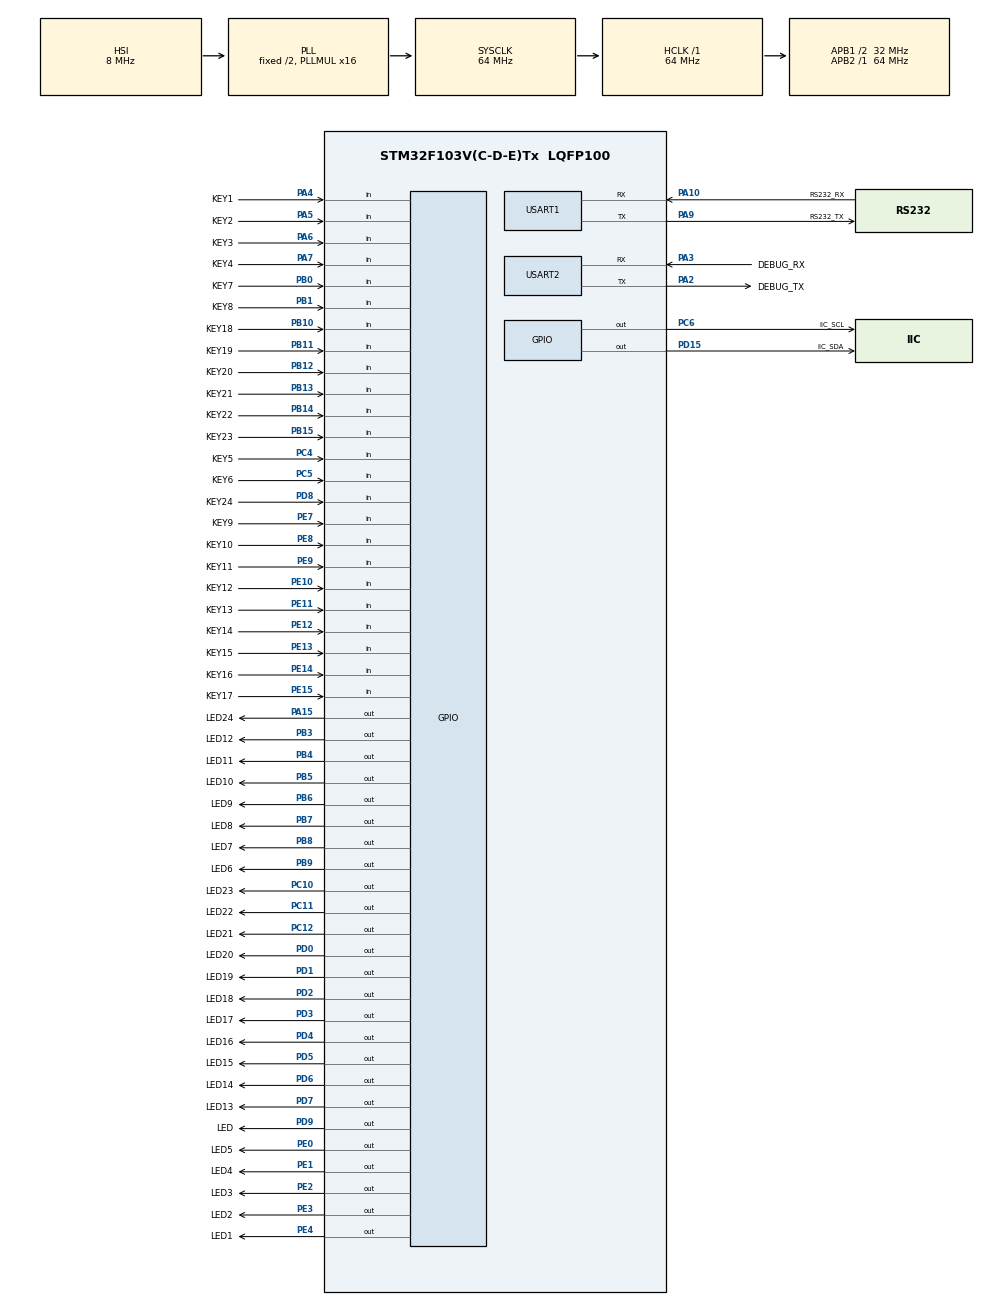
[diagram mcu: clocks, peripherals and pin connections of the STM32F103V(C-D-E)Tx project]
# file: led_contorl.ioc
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Mcu.Family=STM32F1
Mcu.Name=STM32F103V(C-D-E)Tx
Mcu.Package=LQFP100
NVIC.PriorityGroup=NVIC_PRIORITYGROUP_4
NVIC.TIM7_IRQn=true\:0\:0\:false\:false\:true\:true
NVIC.USART1_IRQn=true\:0\:0\:false\:false\:true\:true
NVIC.USART2_IRQn=true\:0\:0\:false\:false\:true\:true
OSC_IN.Mode=HSE-External-Clock-Source
OSC_IN.Signal=RCC_OSC_IN
OSC_OUT.Mode=HSE-External-Clock-Source
OSC_OUT.Signal=RCC_OSC_OUT
PA10.GPIO_Label=RS232_RX
PA10.Mode=Asynchronous
PA10.Signal=USART1_RX
PA13.Mode=Serial_Wire
PA13.Signal=SYS_JTMS-SWDIO
PA14.Mode=Serial_Wire
PA14.Signal=SYS_JTCK-SWCLK
PA15.GPIO_Label=LED24
PA15.Signal=GPIO_Output
PA2.GPIO_Label=DEBUG_TX
PA2.Mode=Asynchronous
PA2.Signal=USART2_TX
PA3.GPIO_Label=DEBUG_RX
PA3.Mode=Asynchronous
PA3.Signal=USART2_RX
PA4.GPIO_Label=KEY1
PA4.Signal=GPIO_Input
PA5.GPIO_Label=KEY2
PA5.Signal=GPIO_Input
PA6.GPIO_Label=KEY3
PA6.Signal=GPIO_Input
PA7.GPIO_Label=KEY4
PA7.Signal=GPIO_Input
PA9.GPIO_Label=RS232_TX
PA9.Mode=Asynchronous
PA9.Signal=USART1_TX
PB0.GPIO_Label=KEY7
PB0.Signal=GPIO_Input
PB1.GPIO_Label=KEY8
PB1.Signal=GPIO_Input
PB10.GPIO_Label=KEY18
PB10.Signal=GPIO_Input
PB11.GPIO_Label=KEY19
PB11.Signal=GPIO_Input
PB12.GPIO_Label=KEY20
PB12.Signal=GPIO_Input
PB13.GPIO_Label=KEY21
PB13.Signal=GPIO_Input
PB14.GPIO_Label=KEY22
PB14.Signal=GPIO_Input
PB15.GPIO_Label=KEY23
PB15.Signal=GPIO_Input
PB3.GPIO_Label=LED12
PB3.Signal=GPIO_Output
PB4.GPIO_Label=LED11
PB4.Signal=GPIO_Output
PB5.GPIO_Label=LED10
PB5.Signal=GPIO_Output
PB6.GPIO_Label=LED9
PB6.Signal=GPIO_Output
PB7.GPIO_Label=LED8
PB7.Signal=GPIO_Output
PB8.GPIO_Label=LED7
PB8.Signal=GPIO_Output
PB9.GPIO_Label=LED6
PB9.Signal=GPIO_Output
PC10.GPIO_Label=LED23
PC10.Signal=GPIO_Output
PC11.GPIO_Label=LED22
PC11.Signal=GPIO_Output
PC12.GPIO_Label=LED21
PC12.Signal=GPIO_Output
PC14-OSC32_IN.Mode=LSE-External-Clock-Source
PC14-OSC32_IN.Signal=RCC_OSC32_IN
PC15-OSC32_OUT.Mode=LSE-External-Clock-Source
PC15-OSC32_OUT.Signal=RCC_OSC32_OUT
PC4.GPIO_Label=KEY5
PC4.Signal=GPIO_Input
PC5.GPIO_Label=KEY6
PC5.Signal=GPIO_Input
PC6.GPIO_Label=IIC_SCL
PC6.Signal=GPIO_Output
PD0.GPIO_Label=LED20
PD0.Signal=GPIO_Output
PD1.GPIO_Label=LED19
PD1.Signal=GPIO_Output
PD15.GPIO_Label=IIC_SDA
PD15.Signal=GPIO_Output
PD2.GPIO_Label=LED18
PD2.Signal=GPIO_Output
PD3.GPIO_Label=LED17
PD3.Signal=GPIO_Output
PD4.GPIO_Label=LED16
PD4.Signal=GPIO_Output
PD5.GPIO_Label=LED15
PD5.Signal=GPIO_Output
PD6.GPIO_Label=LED14
PD6.Signal=GPIO_Output
PD7.GPIO_Label=LED13
PD7.Signal=GPIO_Output
PD8.GPIO_Label=KEY24
PD8.Signal=GPIO_Input
PD9.GPIO_Label=LED
PD9.Signal=GPIO_Output
PE0.GPIO_Label=LED5
PE0.Signal=GPIO_Output
PE1.GPIO_Label=LED4
PE1.Signal=GPIO_Output
PE10.GPIO_Label=KEY12
PE10.Signal=GPIO_Input
PE11.GPIO_Label=KEY13
PE11.Signal=GPIO_Input
PE12.GPIO_Label=KEY14
PE12.Signal=GPIO_Input
PE13.GPIO_Label=KEY15
PE13.Signal=GPIO_Input
PE14.GPIO_Label=KEY16
PE14.Signal=GPIO_Input
PE15.GPIO_Label=KEY17
PE15.Signal=GPIO_Input
PE2.GPIO_Label=LED3
PE2.Signal=GPIO_Output
PE3.GPIO_Label=LED2
PE3.Signal=GPIO_Output
PE4.GPIO_Label=LED1
PE4.Signal=GPIO_Output
PE7.GPIO_Label=KEY9
PE7.Signal=GPIO_Input
PE8.GPIO_Label=KEY10
PE8.Signal=GPIO_Input
PE9.GPIO_Label=KEY11
PE9.Signal=GPIO_Input
ProjectManager.HeapSize=0x200
ProjectManager.StackSize=0x400
ProjectManager.TargetToolchain=MDK-ARM V5
RCC.AHBFreq_Value=64000000
RCC.APB1CLKDivider=RCC_HCLK_DIV2
RCC.APB1Freq_Value=32000000
RCC.APB1TimFreq_Value=64000000
RCC.APB2Freq_Value=64000000
RCC.APB2TimFreq_Value=64000000
RCC.HCLKFreq_Value=64000000
RCC.PLLMUL=RCC_PLL_MUL16
RCC.SYSCLKFreq_VALUE=64000000
RCC.SYSCLKSource=RCC_SYSCLKSOURCE_PLLCLK
RCC.USBFreq_Value=64000000
TIM7.AutoReloadPreload=TIM_AUTORELOAD_PRELOAD_ENABLE
TIM7.Period=999
TIM7.Prescaler=32000
USART1.VirtualMode=VM_ASYNC
USART2.VirtualMode=VM_ASYNC
VP_TIM7_VS_ClockSourceINT.Mode=Enable_Timer
board=led_contorl

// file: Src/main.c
/**
  ******************************************************************************
  * @file           : main.c
  * @brief          : Main program body
  ******************************************************************************
  ** This notice applies to any and all portions of this file
  * that are not between comment pairs USER CODE BEGIN and
  * USER CODE END. Other portions of this file, whether
  * inserted by the user or by software development tools
  * are owned by their respective copyright owners.
  *
  * COPYRIGHT(c) 2018 STMicroelectronics
  *
  * Redistribution and use in source and binary forms, with or without modification,
  * are permitted provided that the following conditions are met:
  *   1. Redistributions of source code must retain the above copyright notice,
  *      this list of conditions and the following disclaimer.
  *   2. Redistributions in binary form must reproduce the above copyright notice,
  *      this list of conditions and the following disclaimer in the documentation
  *      and/or other materials provided with the distribution.
  *   3. Neither the name of STMicroelectronics nor the names of its contributors
  *      may be used to endorse or promote products derived from this software
  *      without specific prior written permission.
  *
  * THIS SOFTWARE IS PROVIDED BY THE COPYRIGHT HOLDERS AND CONTRIBUTORS "AS IS"
  * AND ANY EXPRESS OR IMPLIED WARRANTIES, INCLUDING, BUT NOT LIMITED TO, THE
  * IMPLIED WARRANTIES OF MERCHANTABILITY AND FITNESS FOR A PARTICULAR PURPOSE ARE
  * DISCLAIMED. IN NO EVENT SHALL THE COPYRIGHT HOLDER OR CONTRIBUTORS BE LIABLE
  * FOR ANY DIRECT, INDIRECT, INCIDENTAL, SPECIAL, EXEMPLARY, OR CONSEQUENTIAL
  * DAMAGES (INCLUDING, BUT NOT LIMITED TO, PROCUREMENT OF SUBSTITUTE GOODS OR
  * SERVICES; LOSS OF USE, DATA, OR PROFITS; OR BUSINESS INTERRUPTION) HOWEVER
  * CAUSED AND ON ANY THEORY OF LIABILITY, WHETHER IN CONTRACT, STRICT LIABILITY,
  * OR TORT (INCLUDING NEGLIGENCE OR OTHERWISE) ARISING IN ANY WAY OUT OF THE USE
  * OF THIS SOFTWARE, EVEN IF ADVISED OF THE POSSIBILITY OF SUCH DAMAGE.
  *
  ******************************************************************************
  */
#include "main.h"
#include "stm32f1xx_hal.h"
#include "tim.h"
#include "usart.h"
#include "gpio.h"

/* USER CODE BEGIN Includes */
#include "pca9557.h"
/* USER CODE END Includes */

/* USER CODE BEGIN PV */
/* Private variables ---------------------------------------------------------*/
unsigned char play_video_end_flag = PLAY_VIDEO_COMPELETED;
unsigned char play_video_last_end_flag = PLAY_VIDEO_COMPELETED;
unsigned short int play_video_outtimer = PLAY_VOIDEO_OUTTIME;
/* USER CODE END PV */

void SystemClock_Config(void);

/* USER CODE BEGIN PFP */
/* Private function prototypes -----------------------------------------------*/
typedef struct
{
	GPIO_TypeDef * Port;
	uint16_t Pin;
}control_gpio_t;

uint8_t key_led_pos[] = {
		 0, 1, 2, 3, 4, 5, 6, 7, 8, 9,10,11,
		13,14,15,16,17,18,19,20,21,22,23,12,
};
control_gpio_t KEY_Gpio[] = {
	{PORT_KEY(12), PIN_KEY(12)},
	{PORT_KEY(11), PIN_KEY(11)},
	{PORT_KEY(10), PIN_KEY(10)},
	{PORT_KEY(9), PIN_KEY(9)},
	{PORT_KEY(8), PIN_KEY(8)},
	{PORT_KEY(7), PIN_KEY(7)},
	{PORT_KEY(6), PIN_KEY(6)},
	{PORT_KEY(5), PIN_KEY(5)},
	{PORT_KEY(4), PIN_KEY(4)},
	{PORT_KEY(3),PIN_KEY(3)},
	{PORT_KEY(2),PIN_KEY(2)},
	{PORT_KEY(1),PIN_KEY(1)},
	{PORT_KEY(23),PIN_KEY(23)},
	{PORT_KEY(22),PIN_KEY(22)},
	{PORT_KEY(21),PIN_KEY(21)},
	{PORT_KEY(20),PIN_KEY(20)},
	{PORT_KEY(19),PIN_KEY(19)},
	{PORT_KEY(18),PIN_KEY(18)},
	{PORT_KEY(17),PIN_KEY(17)},
	{PORT_KEY(16),PIN_KEY(16)},
	{PORT_KEY(15),PIN_KEY(15)},
	{PORT_KEY(14),PIN_KEY(14)},
	{PORT_KEY(13),PIN_KEY(13)},
	{PORT_KEY(24),PIN_KEY(24)}
};

control_gpio_t LED_Gpio[] = {
	{PORT_LED(1), PIN_LED(1)},
	{PORT_LED(2), PIN_LED(2)},
	{PORT_LED(3), PIN_LED(3)},
	{PORT_LED(4), PIN_LED(4)},
	{PORT_LED(5), PIN_LED(5)},
	{PORT_LED(6), PIN_LED(6)},
	{PORT_LED(7), PIN_LED(7)},
	{PORT_LED(8), PIN_LED(8)},
	{PORT_LED(9), PIN_LED(9)},
	{PORT_LED(10),PIN_LED(10)},
	{PORT_LED(11),PIN_LED(11)},
	{PORT_LED(12),PIN_LED(12)},
	{PORT_LED(14),PIN_LED(14)},
	{PORT_LED(15),PIN_LED(15)},
	{PORT_LED(16),PIN_LED(16)},
	{PORT_LED(17),PIN_LED(17)},
	{PORT_LED(18),PIN_LED(18)},
	{PORT_LED(19),PIN_LED(19)},
	{PORT_LED(20),PIN_LED(20)},
	{PORT_LED(21),PIN_LED(21)},
	{PORT_LED(22),PIN_LED(22)},
	{PORT_LED(23),PIN_LED(23)},
	{PORT_LED(24),PIN_LED(24)},
	{PORT_LED(13),PIN_LED(13)}
};

uint8_t uart_print[] = {
	'a','b','c','d','e','f','g','h','i','j',
	'k','l','m','n','o','p','q','r','s','t',
	'u','v','w','x','y','z'
};
/* USER CODE END PFP */

int main(void)
{
  /* USER CODE BEGIN 1 */
  uint8_t i;
  uint8_t cur_key = 0;
  uint8_t last_key = 0;
  uint32_t last_tick = 0;
  uint8_t pulse = 0;
	uint8_t test = 0;
  /* USER CODE END 1 */

  /* MCU Configuration----------------------------------------------------------*/

  /* Reset of all peripherals, Initializes the Flash interface and the Systick. */
  HAL_Init();

  /* Configure the system clock */
  SystemClock_Config();

  /* Initialize all configured peripherals */
  MX_GPIO_Init();
  MX_USART1_UART_Init();
  MX_USART2_UART_Init();
  MX_TIM7_Init();
  /* USER CODE BEGIN 2 */
  HAL_TIM_Base_Start_IT(&htim7);
  PCA9557_Init();
  UART_Receive_Init();
  /* USER CODE END 2 */

  /* Infinite loop */
  while (1)
  {

  /* USER CODE BEGIN 3 */
		if (play_video_end_flag == PLAY_VIDEO_COMPELETED)
		{
			for (cur_key = 0;cur_key < KEY_COUNT;cur_key++)
			{
				if (HAL_GPIO_ReadPin(KEY_Gpio[cur_key].Port,KEY_Gpio[cur_key].Pin) == GPIO_PIN_RESET)
				{
					break;
				}
			}
			if (last_key != cur_key)
			{
				last_key = cur_key;
				last_tick = HAL_GetTick();
			}
			else
			{
				if (HAL_GetTick() > (last_tick + 10))
				{
					if (cur_key < KEY_COUNT)
					{
						if (pulse == 0)
						{
							//打开建筑灯
							HAL_GPIO_WritePin(LED_Gpio[cur_key].Port,LED_Gpio[cur_key].Pin,GPIO_PIN_SET);
							//打开按键灯
							key_led.gpio = (uint32_t )(1 << key_led_pos[cur_key]);
							PCA9557_WRITE(key_led);
							HAL_UART_Transmit(&huart1,&uart_print[cur_key],1,HAL_MAX_DELAY);
							play_video_end_flag = PLAY_VIDEO_ING;
							play_video_outtimer = 0;
							pulse = 1;
						}
					}
					else
					{
						pulse = 0;
					}
				}
			}
		}
		if (play_video_last_end_flag != play_video_end_flag)
		{
			if (play_video_last_end_flag == PLAY_VIDEO_ING)
			{
				//关闭建筑灯
				for ( i = 0 ; i < KEY_COUNT; i++)
					HAL_GPIO_WritePin(LED_Gpio[i].Port,LED_Gpio[i].Pin,GPIO_PIN_RESET);
				//关闭按键灯
				key_led.gpio = 0;
				PCA9557_WRITE(key_led);
			}
			play_video_last_end_flag = play_video_end_flag;
		}

//		for (cur_key = 0;cur_key < KEY_COUNT;cur_key++)
//		{
//			if (HAL_GPIO_ReadPin(KEY_Gpio[cur_key].Port,KEY_Gpio[cur_key].Pin) == GPIO_PIN_RESET)
//			{
//				break;
//			}
//		}
//		if (last_key != cur_key)
//		{
//			last_key = cur_key;
//			last_tick = HAL_GetTick();
//		}
//		else
//		{
//			if (HAL_GetTick() > (last_tick + 10))
//			{
//				if (cur_key < KEY_COUNT)
//				{
//					if (pulse == 0)
//					{
//						//打开建筑灯
//						HAL_GPIO_WritePin(LED_Gpio[cur_key].Port,LED_Gpio[cur_key].Pin,GPIO_PIN_SET);
//						//打开按键灯
//						key_led.gpio = (uint32_t )(1 << key_led_pos[cur_key]);
//						PCA9557_WRITE(key_led);
//						HAL_UART_Transmit(&huart1,&uart_print[cur_key],1,HAL_MAX_DELAY);
//						pulse = 1;
//					}
//				}
//				else
//				{
//					pulse = 0;//
//					//关闭建筑灯
//					for ( i = 0 ; i < KEY_COUNT; i++)
//						HAL_GPIO_WritePin(LED_Gpio[i].Port,LED_Gpio[i].Pin,GPIO_PIN_RESET);
//					//关闭按键灯
//					key_led.gpio = 0;
//					PCA9557_WRITE(key_led);
//				}
//			}
//		}
  }

  /* USER CODE END 3 */

}

void SystemClock_Config(void)
{

  RCC_OscInitTypeDef RCC_OscInitStruct;
  RCC_ClkInitTypeDef RCC_ClkInitStruct;

    /**Initializes the CPU, AHB and APB busses clocks
    */
  RCC_OscInitStruct.OscillatorType = RCC_OSCILLATORTYPE_HSI;
  RCC_OscInitStruct.HSIState = RCC_HSI_ON;
  RCC_OscInitStruct.HSICalibrationValue = 16;
  RCC_OscInitStruct.PLL.PLLState = RCC_PLL_ON;
  RCC_OscInitStruct.PLL.PLLSource = RCC_PLLSOURCE_HSI_DIV2;
  RCC_OscInitStruct.PLL.PLLMUL = RCC_PLL_MUL16;
  if (HAL_RCC_OscConfig(&RCC_OscInitStruct) != HAL_OK)
  {
    _Error_Handler(__FILE__, __LINE__);
  }

    /**Initializes the CPU, AHB and APB busses clocks
    */
  RCC_ClkInitStruct.ClockType = RCC_CLOCKTYPE_HCLK|RCC_CLOCKTYPE_SYSCLK
                              |RCC_CLOCKTYPE_PCLK1|RCC_CLOCKTYPE_PCLK2;
  RCC_ClkInitStruct.SYSCLKSource = RCC_SYSCLKSOURCE_PLLCLK;
  RCC_ClkInitStruct.AHBCLKDivider = RCC_SYSCLK_DIV1;
  RCC_ClkInitStruct.APB1CLKDivider = RCC_HCLK_DIV2;
  RCC_ClkInitStruct.APB2CLKDivider = RCC_HCLK_DIV1;

  if (HAL_RCC_ClockConfig(&RCC_ClkInitStruct, FLASH_LATENCY_2) != HAL_OK)
  {
    _Error_Handler(__FILE__, __LINE__);
  }

    /**Configure the Systick interrupt time
    */
  HAL_SYSTICK_Config(HAL_RCC_GetHCLKFreq()/1000);

    /**Configure the Systick
    */
  HAL_SYSTICK_CLKSourceConfig(SYSTICK_CLKSOURCE_HCLK);

  /* SysTick_IRQn interrupt configuration */
  HAL_NVIC_SetPriority(SysTick_IRQn, 0, 0);
}

void _Error_Handler(char *file, int line)
{
  while(1)
  {
  }
}

/************************ (C) COPYRIGHT STMicroelectronics *****END OF FILE****/
